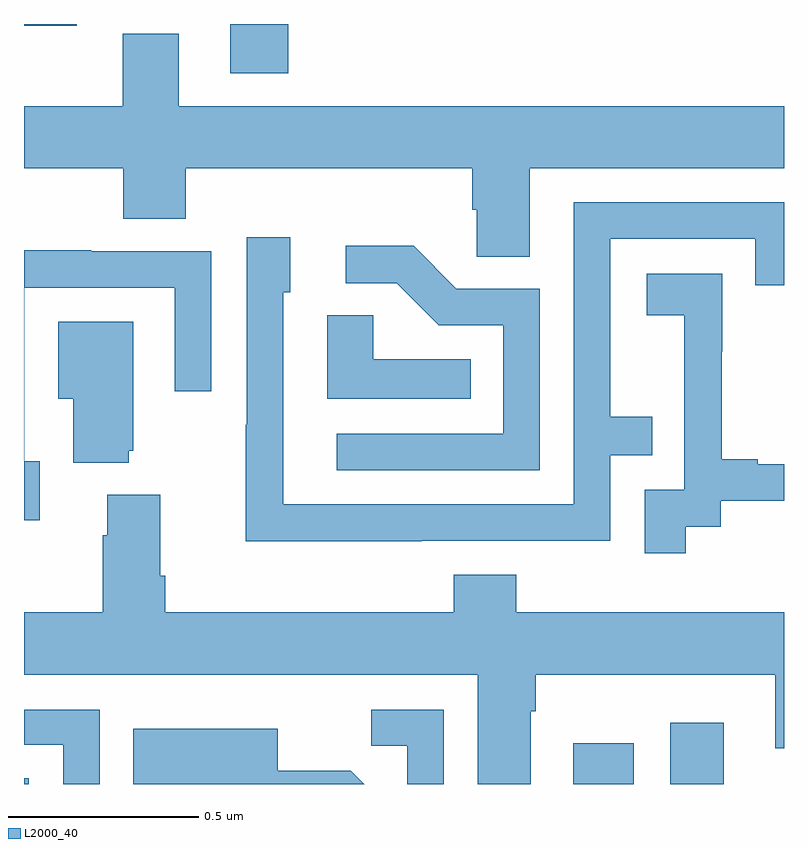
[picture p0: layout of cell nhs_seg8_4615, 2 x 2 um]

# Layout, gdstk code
import gdstk
lib = gdstk.Library(unit=1e-6, precision=1e-09)
def R(c, l, rs):  # rectangles x0, y0, x1, y1
    for r in rs: c.add(gdstk.rectangle(r[:2], r[2:], *l))
def P(c, l, *ps):  # polygons
    for p in ps: c.add(gdstk.Polygon(p, *l))
L2000_40 = (2000, 40)

nhs_seg8_4615 = lib.new_cell('nhs_seg8_4615')
R(nhs_seg8_4615, L2000_40, [(173,1094.9,173.013,1094.915), (174.446,1094.9,174.604,1095.007), (174.701,1094.9,174.841,1095.061), (173.543,1096.77,173.696,1096.9), (173,1096.896,173.139,1096.9)])
P(nhs_seg8_4615, L2000_40, [(174.331,1096.52),(175,1096.52),(175,1096.684),(173.407,1096.684),(173.407,1096.874),(173.26,1096.874),(173.26,1096.684),(173,1096.684),(173,1096.52),(173.261,1096.52),(173.261,1096.387),(173.426,1096.387),(173.426,1096.52),(174.179,1096.52),(174.179,1096.411),(174.192,1096.411),(174.192,1096.288),(174.331,1096.288)],
  [(174.047,1095.54),(174.543,1095.54),(174.543,1095.765),(174.653,1095.765),(174.653,1095.866),(174.543,1095.866),(174.543,1096.335),(174.924,1096.335),(174.924,1096.212),(175,1096.212),(175,1096.431),(174.447,1096.431),(174.447,1095.636),(173.682,1095.636),(173.682,1096.194),(173.701,1096.194),(173.701,1096.339),(173.586,1096.339),(173.586,1095.845),(173.584,1095.845),(173.584,1095.539),(174.047,1095.539)],
  [(174.357,1096.203),(174.138,1096.203),(174.025,1096.316),(173.847,1096.316),(173.847,1096.218),(173.981,1096.218),(174.092,1096.107),(174.261,1096.107),(174.261,1095.822),(173.823,1095.822),(173.823,1095.726),(174.357,1095.726)],
  [(173.041,1095.75),(173.001,1095.75),(173.001,1096.206),(173.397,1096.206),(173.397,1095.933),(173.493,1095.933),(173.493,1096.302),(173.177,1096.302),(173.177,1096.304),(173,1096.304),(173,1095.594),(173.041,1095.594)],
  [(174.742,1095.577),(174.834,1095.577),(174.834,1095.645),(175,1095.645),(175,1095.741),(174.931,1095.741),(174.931,1095.754),(174.836,1095.754),(174.836,1096.037),(174.837,1096.037),(174.837,1096.243),(174.639,1096.243),(174.639,1096.133),(174.737,1096.133),(174.737,1095.905),(174.738,1095.905),(174.738,1095.675),(174.633,1095.675),(174.633,1095.507),(174.742,1095.507)],
  [(174.176,1096.018),(173.919,1096.018),(173.919,1096.133),(173.798,1096.133),(173.798,1095.914),(174.176,1095.914)],
  [(173.276,1095.777),(173.287,1095.777),(173.287,1096.117),(173.09,1096.117),(173.09,1095.914),(173.129,1095.914),(173.129,1095.746),(173.276,1095.746)],
  [(174.334,1095.092),(174.347,1095.092),(174.347,1095.188),(174.977,1095.188),(174.977,1094.994),(175,1094.994),(175,1095.352),(174.296,1095.352),(174.296,1095.451),(174.131,1095.451),(174.131,1095.352),(173.372,1095.352),(173.372,1095.448),(173.359,1095.448),(173.359,1095.661),(173.219,1095.661),(173.219,1095.554),(173.207,1095.554),(173.207,1095.352),(173,1095.352),(173,1095.188),(174.194,1095.188),(174.194,1094.9),(174.334,1094.9)],
  [(174.105,1095.096),(173.914,1095.096),(173.914,1095.001),(174.009,1095.001),(174.009,1094.9),(174.105,1094.9)],
  [(173.199,1095.096),(173,1095.096),(173,1095.003),(173.103,1095.003),(173.103,1094.9),(173.199,1094.9)],
  [(173.86,1094.935),(173.668,1094.935),(173.668,1095.046),(173.288,1095.046),(173.288,1094.9),(173.895,1094.9)])

lib.write_gds('nhs_seg8_4615.gds')
